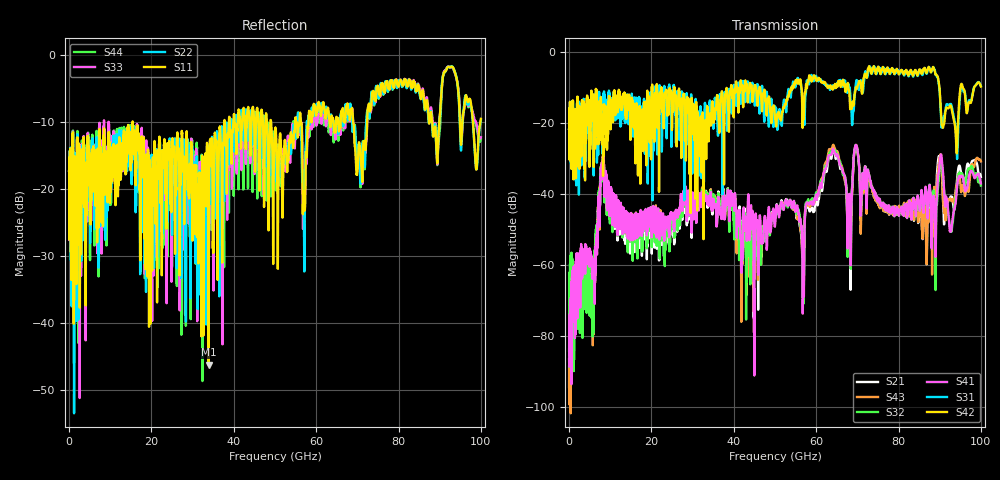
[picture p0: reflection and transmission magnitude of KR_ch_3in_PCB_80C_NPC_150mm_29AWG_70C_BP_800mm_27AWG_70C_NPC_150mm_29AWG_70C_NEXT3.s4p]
# GHz S RI R 45
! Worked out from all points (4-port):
!   4000 points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, 25 MHz to 100 GHz, reference 45 ohm
!   strongest paths, dB at 25 MHz, 25.02 GHz, 50.02 GHz, 75.03 GHz, 100 GHz:
!     S42: -21.8, -20.6, -18.8, -4.2, -9.7
!     S31: -21.8, -12.8, -15.5, -4.9, -9.6
!     S41: -86.6, -46.0, -48.9, -41.4, -37.0
!     S32: -84.2, -48.8, -47.1, -41.4, -37.6
!     S43: -88.7, -48.4, -46.0, -42.3, -30.9
!     S21: -94.5, -50.3, -46.8, -42.2, -35.2
!   lowest |S11| = -46.2 dB at 33.88 GHz (marker M1), VSWR 1.01, Z = 44.6 - j0.158 ohm
!   |S11| at or under -10 dB: start of sweep to 15.45 GHz; 15.46 GHz to 37.71 GHz (22.25 GHz wide, 83.7 % of centre); 49.06 GHz to 54.9 GHz (5.837 GHz wide, 11.2 % of centre)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
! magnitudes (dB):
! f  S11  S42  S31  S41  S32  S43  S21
! 25 MHz  -17.2  -21.8  -21.8  -86.6  -84.2  -88.7  -94.5
! 5.875 GHz  -15.1  -15.0  -21.4  -63.2  -73.8  -79.8  -74.8
! 8.1 GHz  -15.5  -18.8  -23.3  -34.9  -34.7  -34.9  -34.8
! 33.88 GHz  -46.2  -24.4  -22.1  -41.1  -40.3  -41.6  -41.4
! 56.65 GHz  -15.7  -18.0  -13.2  -56.1  -55.8  -58.9  -57.2
! 63.9 GHz  -9.4  -10.1  -9.5  -28.0  -28.1  -27.0  -28.6
! 100 GHz  -9.5  -9.7  -9.6  -37.0  -37.6  -30.9  -35.2
